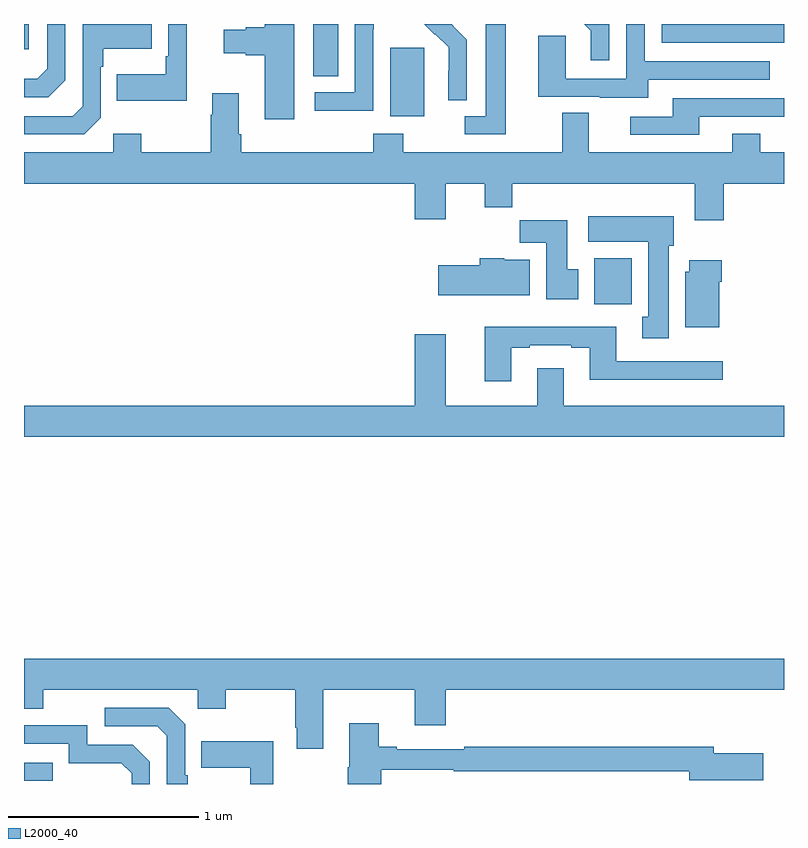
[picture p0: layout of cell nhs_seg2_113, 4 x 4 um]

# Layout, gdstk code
import gdstk
lib = gdstk.Library(unit=1e-6, precision=1e-09)
def R(c, l, rs):  # rectangles x0, y0, x1, y1
    for r in rs: c.add(gdstk.rectangle(r[:2], r[2:], *l))
def P(c, l, *ps):  # polygons
    for p in ps: c.add(gdstk.Polygon(p, *l))
L2000_40 = (2000, 40)

nhs_seg2_113 = lib.new_cell('nhs_seg2_113')
R(nhs_seg2_113, L2000_40, [(115,653.817,115.151,653.913), (118.001,656.324,118.198,656.566), (116.927,657.314,117.106,657.675), (116.522,657.526,116.653,657.8), (115,657.668,115.024,657.798)])
P(nhs_seg2_113, L2000_40, [(118.285,657.507),(118.925,657.507),(118.925,657.603),(118.266,657.603),(118.266,657.8),(118.17,657.8),(118.17,657.513),(117.852,657.513),(117.852,657.737),(117.707,657.737),(117.707,657.417),(118.031,657.417),(118.031,657.413),(118.285,657.413)],
  [(119,657.798),(118.465,657.798),(118.465,657.8),(118.356,657.8),(118.356,657.702),(119,657.702)],
  [(117.33,657.718),(117.257,657.791),(117.258,657.792),(117.25,657.8),(117.106,657.8),(117.162,657.744),(117.165,657.747),(117.236,657.677),(117.236,657.554),(117.234,657.554),(117.234,657.4),(117.33,657.4)],
  [(116.838,657.772),(116.841,657.772),(116.841,657.8),(116.742,657.8),(116.742,657.441),(116.529,657.441),(116.529,657.343),(116.838,657.343)],
  [(115.404,657.306),(115.404,657.575),(115.417,657.575),(115.417,657.671),(115.673,657.671),(115.673,657.8),(115.308,657.8),(115.308,657.366),(115.257,657.315),(115,657.315),(115,657.219),(115.317,657.219)],
  [(118.08,657.8),(117.948,657.8),(117.983,657.765),(117.983,657.609),(118.08,657.609)],
  [(117.535,657.8),(117.431,657.8),(117.431,657.315),(117.321,657.315),(117.321,657.219),(117.535,657.219)],
  [(116.422,657.8),(116.267,657.8),(116.267,657.782),(116.168,657.782),(116.168,657.769),(116.052,657.769),(116.052,657.647),(116.168,657.647),(116.168,657.635),(116.267,657.635),(116.267,657.3),(116.422,657.3)],
  [(115.218,657.504),(115.218,657.8),(115.122,657.8),(115.122,657.564),(115.069,657.511),(115,657.511),(115,657.414),(115.128,657.414)],
  [(115.856,657.8),(115.758,657.8),(115.758,657.631),(115.746,657.631),(115.746,657.535),(115.489,657.535),(115.489,657.395),(115.856,657.395)],
  [(118.682,656.96),(119,656.96),(119,657.124),(118.875,657.124),(118.875,657.223),(118.727,657.223),(118.727,657.124),(117.973,657.124),(117.973,657.332),(117.833,657.332),(117.833,657.124),(116.997,657.124),(116.997,657.223),(116.837,657.223),(116.837,657.124),(116.144,657.124),(116.144,657.22),(116.131,657.22),(116.131,657.436),(115.991,657.436),(115.991,657.323),(115.984,657.323),(115.984,657.124),(115.617,657.124),(115.617,657.223),(115.47,657.223),(115.47,657.124),(115,657.124),(115,656.96),(117.056,656.96),(117.056,656.772),(117.22,656.772),(117.22,656.96),(117.425,656.96),(117.425,656.836),(117.569,656.836),(117.569,656.96),(118.529,656.96),(118.529,656.766),(118.682,656.766)],
  [(118.555,657.312),(119,657.312),(119,657.408),(118.415,657.408),(118.415,657.312),(118.191,657.312),(118.191,657.216),(118.555,657.216)],
  [(118.393,656.634),(118.42,656.634),(118.42,656.788),(117.969,656.788),(117.969,656.654),(118.286,656.654),(118.286,656.258),(118.253,656.258),(118.253,656.145),(118.393,656.145)],
  [(117.916,656.508),(117.859,656.508),(117.859,656.767),(117.61,656.767),(117.61,656.648),(117.749,656.648),(117.749,656.352),(117.916,656.352)],
  [(117.661,656.56),(117.528,656.56),(117.528,656.566),(117.398,656.566),(117.398,656.53),(117.18,656.53),(117.18,656.372),(117.661,656.372)],
  [(118.66,656.444),(118.673,656.444),(118.673,656.557),(118.502,656.557),(118.502,656.496),(118.481,656.496),(118.481,656.204),(118.66,656.204)],
  [(117.565,656.097),(117.661,656.097),(117.661,656.109),(117.881,656.109),(117.881,656.097),(117.977,656.097),(117.977,655.928),(118.678,655.928),(118.678,656.025),(118.117,656.025),(118.117,656.206),(117.425,656.206),(117.425,655.92),(117.565,655.92)],
  [(119,655.792),(117.841,655.792),(117.841,655.987),(117.701,655.987),(117.701,655.792),(117.22,655.792),(117.22,656.167),(117.056,656.167),(117.056,655.792),(115,655.792),(115,655.628),(119,655.628)],
  [(116.575,654.296),(117.056,654.296),(117.056,654.108),(117.22,654.108),(117.22,654.296),(119,654.296),(119,654.46),(115,654.46),(115,654.197),(115.101,654.197),(115.101,654.296),(115.914,654.296),(115.914,654.197),(116.061,654.197),(116.061,654.296),(116.428,654.296),(116.428,654.097),(116.435,654.097),(116.435,653.985),(116.575,653.985)],
  [(115.861,653.845),(115.848,653.845),(115.848,654.114),(115.761,654.201),(115.425,654.201),(115.425,654.105),(115.701,654.105),(115.752,654.054),(115.752,653.8),(115.861,653.8)],
  [(116.879,653.874),(117.262,653.874),(117.262,653.866),(118.502,653.866),(118.502,653.819),(118.891,653.819),(118.891,653.961),(118.63,653.961),(118.63,653.995),(117.316,653.995),(117.316,653.982),(116.962,653.982),(116.962,653.995),(116.866,653.995),(116.866,654.121),(116.711,654.121),(116.711,653.889),(116.704,653.889),(116.704,653.8),(116.879,653.8)],
  [(115.662,653.916),(115.572,654.006),(115.332,654.006),(115.332,654.108),(115,654.108),(115,654.012),(115.236,654.012),(115.236,653.909),(115.513,653.909),(115.566,653.856),(115.566,653.8),(115.662,653.8)],
  [(116.311,654.025),(115.933,654.025),(115.933,653.885),(116.19,653.885),(116.19,653.8),(116.311,653.8)])

lib.write_gds('nhs_seg2_113.gds')
